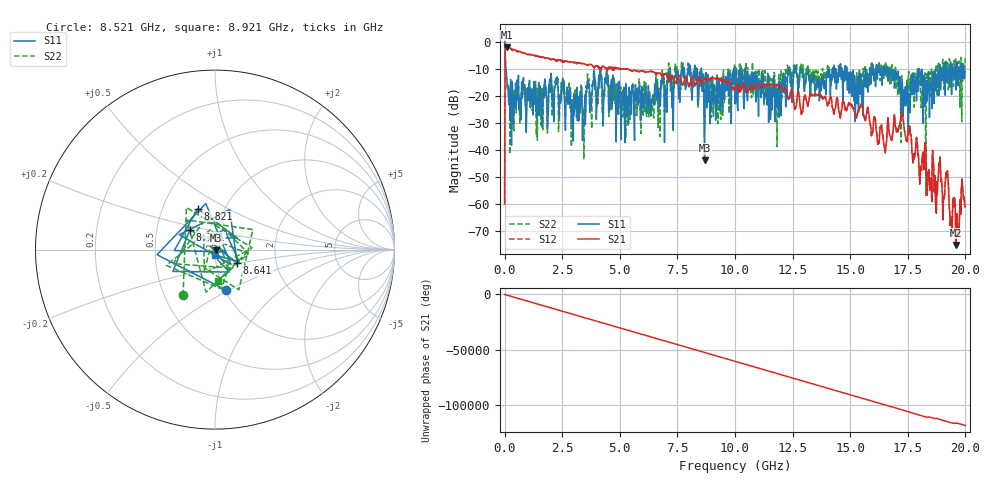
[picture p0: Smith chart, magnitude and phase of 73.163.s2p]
! Created with skrf 1.9.0 (http://scikit-rf.org).
# Hz S RI R 50.0
!freq ReS11 ImS11 ReS21 ImS21 ReS12 ImS12 ReS22 ImS22
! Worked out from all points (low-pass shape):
!   1001 points, 1 MHz to 20 GHz, reference 50 ohm
!   highest |S21| = -1.98 dB at 121 MHz (marker M1); lowest = -75.2 dB at 19.58 GHz (marker M2)
!   |S21| within 3 dB of the highest: 20.84 MHz to 1.18 GHz (1.159 GHz wide, 193 % of centre); 1.182 GHz to 1.217 GHz (34.58 MHz wide, 2.88 % of centre)
!   lowest |S11| = -43.9 dB at 8.681 GHz (marker M3), VSWR 1.01, Z = 50.5 - j0.432 ohm
!   |S11| at or under -10 dB: 57.12 MHz to 7.705 GHz (7.648 GHz wide, 197 % of centre); 10.44 GHz to 12.36 GHz (1.914 GHz wide, 16.8 % of centre); 12.65 GHz to 14.24 GHz (1.586 GHz wide, 11.8 % of centre) (the widest 3 of 44)
!   |S22| runs from -56.9 to -0.2 dB; largest |S21 - S12| = 0.021
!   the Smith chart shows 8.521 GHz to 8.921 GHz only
!   S11 on the Smith chart (normalised r, x): 8.521 GHz: 1.01, -0.49; 8.641 GHz: 1.27, -0.19; 8.761 GHz: 0.74, +0.17; 8.821 GHz: 0.75, +0.36; 8.921 GHz: 1.00, -0.06
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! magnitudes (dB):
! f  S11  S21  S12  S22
! 1 MHz  0.4  -60.1  -60.0  -0.2
! 121 MHz  -16.5  -2.0  -2.0  -18.0
! 401 MHz  -26.9  -2.9  -2.9  -33.0
! 2.261 GHz  -15.9  -6.9  -6.9  -13.6
! 3.341 GHz  -16.8  -8.2  -8.2  -19.9
! 4.141 GHz  -11.4  -10.2  -10.0  -12.3
! 5.261 GHz  -15.5  -10.2  -10.1  -35.5
! 6.681 GHz  -25.0  -11.6  -11.6  -24.9
! 8.521 GHz  -12.6  -15.2  -15.4  -10.1
! 8.641 GHz  -16.8  -14.3  -14.3  -11.7
! 8.681 GHz  -43.9  -13.3  -13.3  -30.5
! 8.761 GHz  -15.0  -13.5  -13.4  -18.8
! 8.821 GHz  -12.1  -14.0  -13.7  -14.0
! 8.921 GHz  -30.4  -14.0  -14.0  -15.1
! 10 GHz  -23.0  -17.3  -17.8  -9.3
! 13.34 GHz  -15.0  -19.8  -19.5  -14.4
! 16.68 GHz  -9.9  -32.9  -33.0  -9.5
! 17.24 GHz  -16.3  -26.4  -26.4  -12.6
! 17.94 GHz  -11.7  -42.1  -42.3  -10.4
! 18.18 GHz  -13.8  -44.0  -43.9  -23.5
! 19.58 GHz  -12.2  -75.2  -75.7  -6.5
! 20 GHz  -11.1  -61.1  -60.5  -6.1
